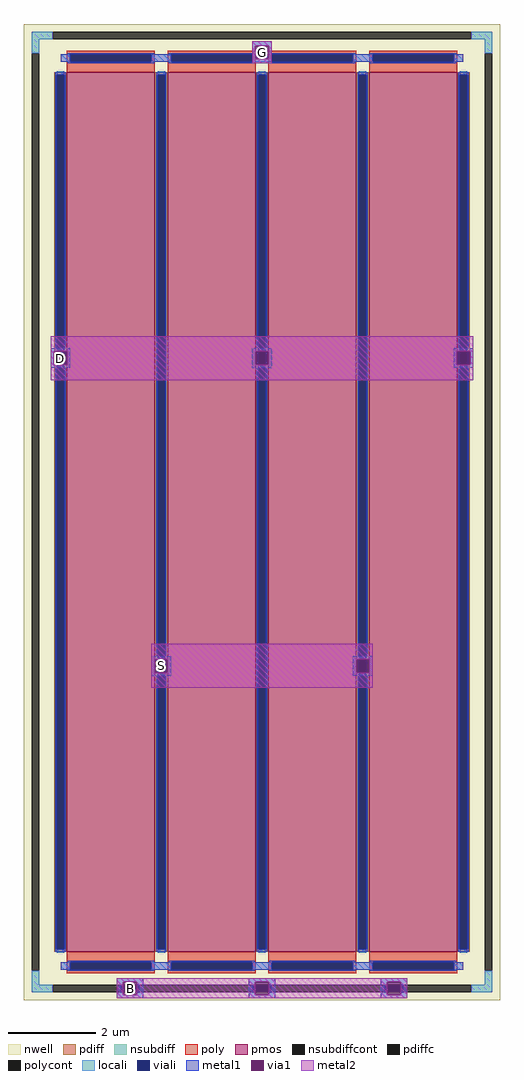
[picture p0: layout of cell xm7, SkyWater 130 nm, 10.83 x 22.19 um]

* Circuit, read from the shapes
.subckt xm7 D S G B
XM1 S G D B sky130_fd_pr__pfet_01v8 w=20 l=2 m=4
.ends

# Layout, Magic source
magic
tech sky130A
magscale 1 2
<< viali >>
rect -645 -2183 -555 -2149
rect -45 -2183 45 -2149
rect 555 -2183 645 -2149
<< metal1 >>
rect -45 2120 45 2140
rect -45 2060 -30 2120
rect 30 2060 45 2120
rect -45 2041 45 2060
rect -961 730 -871 745
rect -961 670 -946 730
rect -886 670 -871 730
rect -961 655 -871 670
rect -45 730 45 745
rect -45 670 -30 730
rect 30 670 45 730
rect -45 655 45 670
rect 871 730 961 745
rect 871 670 886 730
rect 946 670 961 730
rect 871 655 961 670
rect -503 -670 -413 -655
rect -503 -730 -488 -670
rect -428 -730 -413 -670
rect -503 -745 -413 -730
rect 413 -670 503 -655
rect 413 -730 428 -670
rect 488 -730 503 -670
rect 413 -745 503 -730
rect -660 -2136 -540 -2121
rect -660 -2149 -630 -2136
rect -570 -2149 -540 -2136
rect -660 -2183 -645 -2149
rect -555 -2183 -540 -2149
rect -660 -2196 -630 -2183
rect -570 -2196 -540 -2183
rect -660 -2211 -540 -2196
rect -60 -2136 60 -2121
rect -60 -2149 -30 -2136
rect 30 -2149 60 -2136
rect -60 -2183 -45 -2149
rect 45 -2183 60 -2149
rect -60 -2196 -30 -2183
rect 30 -2196 60 -2183
rect -60 -2211 60 -2196
rect 540 -2136 660 -2121
rect 540 -2149 570 -2136
rect 630 -2149 660 -2136
rect 540 -2183 555 -2149
rect 645 -2183 660 -2149
rect 540 -2196 570 -2183
rect 630 -2196 660 -2183
rect 540 -2211 660 -2196
<< via1 >>
rect -30 2060 30 2120
rect -946 670 -886 730
rect -30 670 30 730
rect 886 670 946 730
rect -488 -730 -428 -670
rect 428 -730 488 -670
rect -630 -2149 -570 -2136
rect -630 -2183 -570 -2149
rect -630 -2196 -570 -2183
rect -30 -2149 30 -2136
rect -30 -2183 30 -2149
rect -30 -2196 30 -2183
rect 570 -2149 630 -2136
rect 570 -2183 630 -2149
rect 570 -2196 630 -2183
<< metal2 >>
rect -45 2120 45 2140
rect -45 2060 -30 2120
rect 30 2060 45 2120
rect -45 2040 45 2060
rect -961 730 961 800
rect -961 670 -946 730
rect -886 670 -30 730
rect 30 670 886 730
rect 946 670 961 730
rect -961 600 961 670
rect -503 -670 503 -600
rect -503 -730 -488 -670
rect -428 -730 428 -670
rect 488 -730 503 -670
rect -503 -800 503 -730
rect -660 -2136 660 -2121
rect -660 -2196 -630 -2136
rect -570 -2196 -30 -2136
rect 30 -2196 570 -2136
rect 630 -2196 660 -2136
rect -660 -2211 660 -2196
use dev_p80_l2_f4  u_dev
transform 1 0 0 0 1 0
box -1083 -2219 1083 2219
<< labels >>
rlabel metal2 -916 700 -916 700 0 D
port 1 nsew
rlabel metal2 -458 -700 -458 -700 0 S
port 2 nsew
rlabel metal2 0 2090 0 2090 0 G
port 3 nsew
rlabel metal2 -600 -2166 -600 -2166 0 B
port 4 nsew
<< end >>

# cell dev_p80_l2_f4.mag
magic
tech sky130A
magscale 1 2
<< nwell >>
rect -1083 -2219 1083 2219
<< pmos >>
rect -887 -2000 -487 2000
rect -429 -2000 -29 2000
rect 29 -2000 429 2000
rect 487 -2000 887 2000
<< pdiff >>
rect -945 1988 -887 2000
rect -945 -1988 -933 1988
rect -899 -1988 -887 1988
rect -945 -2000 -887 -1988
rect -487 1988 -429 2000
rect -487 -1988 -475 1988
rect -441 -1988 -429 1988
rect -487 -2000 -429 -1988
rect -29 1988 29 2000
rect -29 -1988 -17 1988
rect 17 -1988 29 1988
rect -29 -2000 29 -1988
rect 429 1988 487 2000
rect 429 -1988 441 1988
rect 475 -1988 487 1988
rect 429 -2000 487 -1988
rect 887 1988 945 2000
rect 887 -1988 899 1988
rect 933 -1988 945 1988
rect 887 -2000 945 -1988
<< pdiffc >>
rect -933 -1988 -899 1988
rect -475 -1988 -441 1988
rect -17 -1988 17 1988
rect 441 -1988 475 1988
rect 899 -1988 933 1988
<< nsubdiff >>
rect -1047 2149 -951 2183
rect 951 2149 1047 2183
rect -1047 2087 -1013 2149
rect 1013 2087 1047 2149
rect -1047 -2149 -1013 -2087
rect 1013 -2149 1047 -2087
rect -1047 -2183 -951 -2149
rect 951 -2183 1047 -2149
<< nsubdiffcont >>
rect -951 2149 951 2183
rect -1047 -2087 -1013 2087
rect 1013 -2087 1047 2087
rect -951 -2183 951 -2149
<< poly >>
rect -887 2081 -487 2097
rect -887 2047 -871 2081
rect -503 2047 -487 2081
rect -887 2000 -487 2047
rect -429 2081 -29 2097
rect -429 2047 -413 2081
rect -45 2047 -29 2081
rect -429 2000 -29 2047
rect 29 2081 429 2097
rect 29 2047 45 2081
rect 413 2047 429 2081
rect 29 2000 429 2047
rect 487 2081 887 2097
rect 487 2047 503 2081
rect 871 2047 887 2081
rect 487 2000 887 2047
rect -887 -2047 -487 -2000
rect -887 -2081 -871 -2047
rect -503 -2081 -487 -2047
rect -887 -2097 -487 -2081
rect -429 -2047 -29 -2000
rect -429 -2081 -413 -2047
rect -45 -2081 -29 -2047
rect -429 -2097 -29 -2081
rect 29 -2047 429 -2000
rect 29 -2081 45 -2047
rect 413 -2081 429 -2047
rect 29 -2097 429 -2081
rect 487 -2047 887 -2000
rect 487 -2081 503 -2047
rect 871 -2081 887 -2047
rect 487 -2097 887 -2081
<< polycont >>
rect -871 2047 -503 2081
rect -413 2047 -45 2081
rect 45 2047 413 2081
rect 503 2047 871 2081
rect -871 -2081 -503 -2047
rect -413 -2081 -45 -2047
rect 45 -2081 413 -2047
rect 503 -2081 871 -2047
<< locali >>
rect -1047 2149 -951 2183
rect 951 2149 1047 2183
rect -1047 2087 -1013 2149
rect 1013 2087 1047 2149
rect -916 2047 -871 2081
rect -503 2047 -413 2081
rect -45 2047 45 2081
rect 413 2047 503 2081
rect 871 2047 916 2081
rect -933 1988 -899 2004
rect -933 -2004 -899 -1988
rect -475 1988 -441 2004
rect -475 -2004 -441 -1988
rect -17 1988 17 2004
rect -17 -2004 17 -1988
rect 441 1988 475 2004
rect 441 -2004 475 -1988
rect 899 1988 933 2004
rect 899 -2004 933 -1988
rect -916 -2081 -871 -2047
rect -503 -2081 -413 -2047
rect -45 -2081 45 -2047
rect 413 -2081 503 -2047
rect 871 -2081 916 -2047
rect -1047 -2149 -1013 -2087
rect 1013 -2149 1047 -2087
rect -1047 -2183 -951 -2149
rect 951 -2183 1047 -2149
<< viali >>
rect -871 2047 -503 2081
rect -413 2047 -45 2081
rect 45 2047 413 2081
rect 503 2047 871 2081
rect -933 -1988 -899 1988
rect -475 -1988 -441 1988
rect -17 -1988 17 1988
rect 441 -1988 475 1988
rect 899 -1988 933 1988
rect -871 -2081 -503 -2047
rect -413 -2081 -45 -2047
rect 45 -2081 413 -2047
rect 503 -2081 871 -2047
<< metal1 >>
rect -883 2081 -491 2087
rect -425 2081 -33 2087
rect 33 2081 425 2087
rect 491 2081 883 2087
rect -916 2047 -871 2081
rect -503 2047 -413 2081
rect -45 2047 45 2081
rect 413 2047 503 2081
rect 871 2047 916 2081
rect -883 2041 -491 2047
rect -425 2041 -33 2047
rect 33 2041 425 2047
rect 491 2041 883 2047
rect -939 1988 -893 2000
rect -939 -1988 -933 1988
rect -899 -1988 -893 1988
rect -939 -2000 -893 -1988
rect -481 1988 -435 2000
rect -481 -1988 -475 1988
rect -441 -1988 -435 1988
rect -481 -2000 -435 -1988
rect -23 1988 23 2000
rect -23 -1988 -17 1988
rect 17 -1988 23 1988
rect -23 -2000 23 -1988
rect 435 1988 481 2000
rect 435 -1988 441 1988
rect 475 -1988 481 1988
rect 435 -2000 481 -1988
rect 893 1988 939 2000
rect 893 -1988 899 1988
rect 933 -1988 939 1988
rect 893 -2000 939 -1988
rect -883 -2047 -491 -2041
rect -425 -2047 -33 -2041
rect 33 -2047 425 -2041
rect 491 -2047 883 -2041
rect -916 -2081 -871 -2047
rect -503 -2081 -413 -2047
rect -45 -2081 45 -2047
rect 413 -2081 503 -2047
rect 871 -2081 916 -2047
rect -883 -2087 -491 -2081
rect -425 -2087 -33 -2081
rect 33 -2087 425 -2081
rect 491 -2087 883 -2081
<< labels >>
rlabel nsubdiffcont 0 -2166 0 -2166 0 B
port 1 nsew
rlabel pdiffc -916 0 -916 0 0 D0
port 2 nsew
rlabel polycont -687 2064 -687 2064 0 G
port 3 nsew
rlabel pdiffc -458 0 -458 0 0 S1
port 4 nsew
rlabel polycont -229 2064 -229 2064 0 G
port 3 nsew
rlabel pdiffc 0 0 0 0 0 D2
port 5 nsew
rlabel polycont 229 2064 229 2064 0 G
port 3 nsew
rlabel pdiffc 458 0 458 0 0 S3
port 6 nsew
rlabel polycont 687 2064 687 2064 0 G
port 3 nsew
<< properties >>
string FIXED_BBOX -1030 -2166 1030 2166
<< end >>
